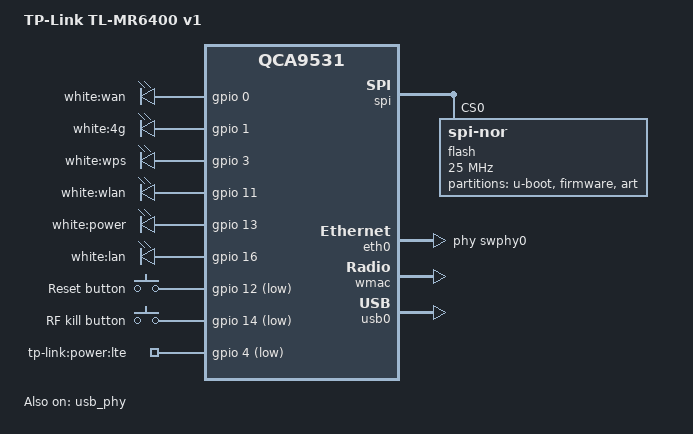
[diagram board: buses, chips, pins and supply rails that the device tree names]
// SPDX-License-Identifier: GPL-2.0-or-later

#include "qca953x.dtsi"

#include <dt-bindings/gpio/gpio.h>
#include <dt-bindings/input/input.h>

/ {
	compatible = "tplink,tl-mr6400-v1", "qca,qca9531";
	model = "TP-Link TL-MR6400 v1";

	aliases {
		led-boot = &led_power;
		led-failsafe = &led_power;
		led-running = &led_power;
		led-upgrade = &led_power;
		label-mac-device = &wmac;
	};

	leds {
		compatible = "gpio-leds";

		/* D12 */
		wan {
			label = "white:wan";
			gpios = <&gpio 0 GPIO_ACTIVE_HIGH>;
		};

		/* D11 */
		4g {
			label = "white:4g";
			gpios = <&gpio 1 GPIO_ACTIVE_HIGH>;
		};

		/* D5 */
		wps {
			label = "white:wps";
			gpios = <&gpio 3 GPIO_ACTIVE_HIGH>;
		};

		/* D3 */
		wlan {
			label = "white:wlan";
			gpios = <&gpio 11 GPIO_ACTIVE_HIGH>;
			linux,default-trigger = "phy0tpt";
		};

		/* D2 */
		led_power: power {
			label = "white:power";
			gpios = <&gpio 13 GPIO_ACTIVE_HIGH>;
		};

		/* D4 */
		lan {
			label = "white:lan";
			gpios = <&gpio 16 GPIO_ACTIVE_HIGH>;
		};
	};

	keys {
		compatible = "gpio-keys";

		/* SW2 */
		reset {
			label = "Reset button";
			linux,code = <KEY_RESTART>;
			gpios = <&gpio 12 GPIO_ACTIVE_LOW>;
			debounce-interval = <60>;
		};

		/* SW3 */
		rfkill {
			label = "RF kill button";
			linux,code = <KEY_RFKILL>;
			gpios = <&gpio 14 GPIO_ACTIVE_LOW>;
			debounce-interval = <60>;
		};
	};

	gpio-export {
		compatible = "gpio-export";

		gpio_usb_power {
			gpio-export,name = "tp-link:power:lte";
			gpio-export,output = <0>;
			gpios = <&gpio 4 GPIO_ACTIVE_LOW>;
		};
	};
};

&spi {
	status = "okay";

	flash@0 {
		compatible = "jedec,spi-nor";
		reg = <0>;
		spi-max-frequency = <25000000>;

		partitions {
			compatible = "fixed-partitions";
			#address-cells = <1>;
			#size-cells = <1>;

			uboot: partition@0 {
				label = "u-boot";
				reg = <0x000000 0x020000>;
				read-only;
			};

			partition@20000 {
				compatible = "tplink,firmware";
				label = "firmware";
				reg = <0x020000 0x7d0000>;
			};

			art: partition@7f0000 {
				label = "art";
				reg = <0x7f0000 0x010000>;
				read-only;
			};
		};
	};
};

&eth0 {
	status = "okay";

	phy-handle = <&swphy0>;

	nvmem-cells = <&macaddr_uboot_1fc00>;
	nvmem-cell-names = "mac-address";
	mac-address-increment = <1>;
};

&eth1 {
	nvmem-cells = <&macaddr_uboot_1fc00>;
	nvmem-cell-names = "mac-address";
	mac-address-increment = <(-1)>;
};

&wmac {
	status = "okay";

	mtd-cal-data = <&art 0x1000>;
	nvmem-cells = <&macaddr_uboot_1fc00>;
	nvmem-cell-names = "mac-address";
};

&usb0 {
	#address-cells = <1>;
	#size-cells = <0>;
	status = "okay";

	hub_port: port@1 {
		reg = <1>;
		#trigger-source-cells = <0>;
	};
};

&usb_phy {
	status = "okay";
};

&uboot {
	compatible = "nvmem-cells";
	#address-cells = <1>;
	#size-cells = <1>;

	macaddr_uboot_1fc00: macaddr@1fc00 {
		reg = <0x1fc00 0x6>;
	};
};
